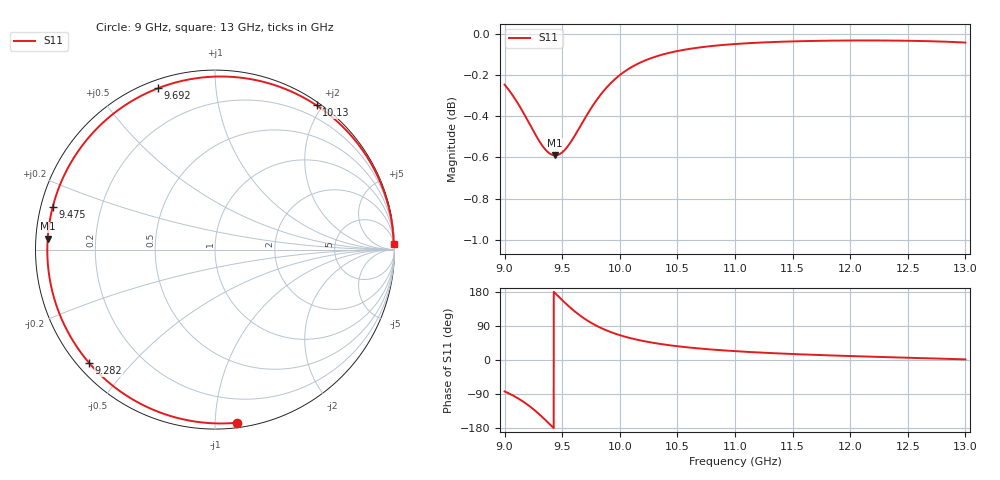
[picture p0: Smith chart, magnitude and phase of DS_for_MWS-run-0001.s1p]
! TOUCHSTONE file generated by CST DESIGN STUDIO
! Date and time: Tue Feb  4 12:47:51 2025
! Project name: C:\Work\MatlabApps\UnitCellOptimizationMatlab\CST\unitcell.cst
! Tree item: Tasks\Sweep1\SPara1\S-Parameters
! Header version: 2024
! Port assignment regex: !\s*Touchstone port\s*([0-9]+)\s*=\s*(CST MWS port|CST DES external port|CST DES block port)\s*(.+)\s* \(\"(.*)\"\)(\s*mode\s*([0-9]+))?.*
! Touchstone port assignment:
! Touchstone port 1 = CST DES external port 1 ("")
# GHz S MA R 50
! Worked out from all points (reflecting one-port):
!   4001 points, 9 GHz to 13 GHz, reference 50 ohm
!   lowest |S11| = -0.6 dB at 9.439 GHz (marker M1), VSWR 29.47, Z = 1.7 + j1.63 ohm
!   phase of S11 starts at -83 deg and turns -275 deg over the sweep
!   S11 on the Smith chart (normalised r, x): 9 GHz: 0.03, -1.13; 9.282 GHz: 0.03, -0.38; 9.475 GHz: 0.03, +0.13; 9.692 GHz: 0.04, +0.71; 10.13 GHz: 0.04, +1.93; 13 GHz: 11, +67
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9  0.9721 -82.9
9.086  0.9648 -95.9
9.157  0.9576 -109.0
9.221  0.9504 -122.9
9.282  0.9437 -138.1
9.326  0.9396 -150.2
9.366  0.9366 -161.7
9.403  0.9349 -172.8
9.439  0.9344 176.3
9.475  0.9349 165.4
9.5  0.9359 158.0
9.549  0.9392 144.0
9.596  0.9434 131.5
9.643  0.9482 120.1
9.692  0.9534 109.4
9.762  0.9604 96.2
9.845  0.9676 83.4
9.92  0.9728 73.9
10  0.9773 65.5
10.131  0.9827 54.9
10.297  0.9872 45.0
10.5  0.9905 36.3
10.723  0.9928 29.5
11  0.9944 23.4
11.5  0.9959 15.8
12  0.9964 10.4
12.5  0.9963 6.0
13  0.9952 1.7
